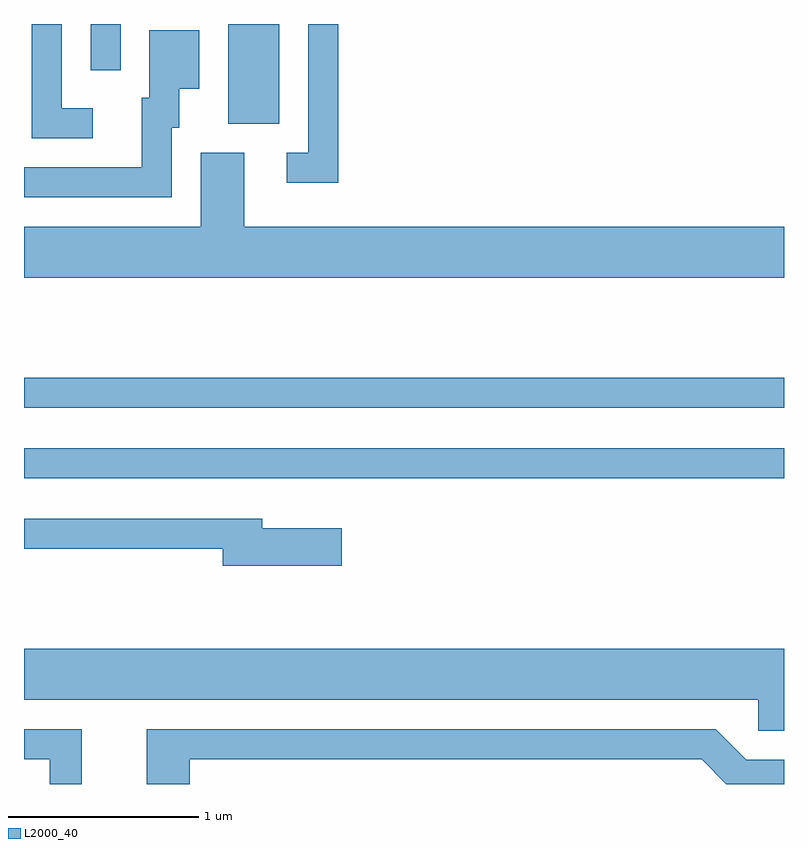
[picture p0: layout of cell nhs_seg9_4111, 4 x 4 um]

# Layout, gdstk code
import gdstk
lib = gdstk.Library(unit=1e-6, precision=1e-09)
def R(c, l, rs):  # rectangles x0, y0, x1, y1
    for r in rs: c.add(gdstk.rectangle(r[:2], r[2:], *l))
def P(c, l, *ps):  # polygons
    for p in ps: c.add(gdstk.Polygon(p, *l))
L2000_40 = (2000, 40)

nhs_seg9_4111 = lib.new_cell('nhs_seg9_4111')
R(nhs_seg9_4111, L2000_40, [(305.611,2044.041,309.611,2044.199), (305.611,2044.411,309.611,2044.569), (306.686,2045.906,306.954,2046.432), (305.961,2046.188,306.119,2046.432)])
P(nhs_seg9_4111, L2000_40, [(307.264,2046.432),(307.106,2046.432),(307.106,2045.754),(306.993,2045.754),(306.993,2045.596),(307.264,2045.596)],
  [(305.973,2045.989),(305.809,2045.989),(305.809,2046.432),(305.651,2046.432),(305.651,2045.831),(305.973,2045.831)],
  [(306.389,2045.886),(306.429,2045.886),(306.429,2046.091),(306.534,2046.091),(306.534,2046.399),(306.271,2046.399),(306.271,2046.044),(306.231,2046.044),(306.231,2045.679),(305.611,2045.679),(305.611,2045.521),(306.389,2045.521)],
  [(309.611,2045.364),(306.769,2045.364),(306.769,2045.754),(306.541,2045.754),(306.541,2045.364),(305.611,2045.364),(305.611,2045.096),(309.611,2045.096)],
  [(307.284,2043.779),(306.864,2043.779),(306.864,2043.829),(305.611,2043.829),(305.611,2043.671),(306.656,2043.671),(306.656,2043.581),(307.284,2043.581)],
  [(309.611,2043.144),(305.611,2043.144),(305.611,2042.876),(309.476,2042.876),(309.476,2042.711),(309.611,2042.711)],
  [(306.484,2042.561),(309.179,2042.561),(309.308,2042.432),(309.611,2042.432),(309.611,2042.559),(309.412,2042.559),(309.252,2042.719),(306.256,2042.719),(306.256,2042.432),(306.484,2042.432)],
  [(305.914,2042.719),(305.611,2042.719),(305.611,2042.561),(305.746,2042.561),(305.746,2042.432),(305.914,2042.432)])

lib.write_gds('nhs_seg9_4111.gds')
